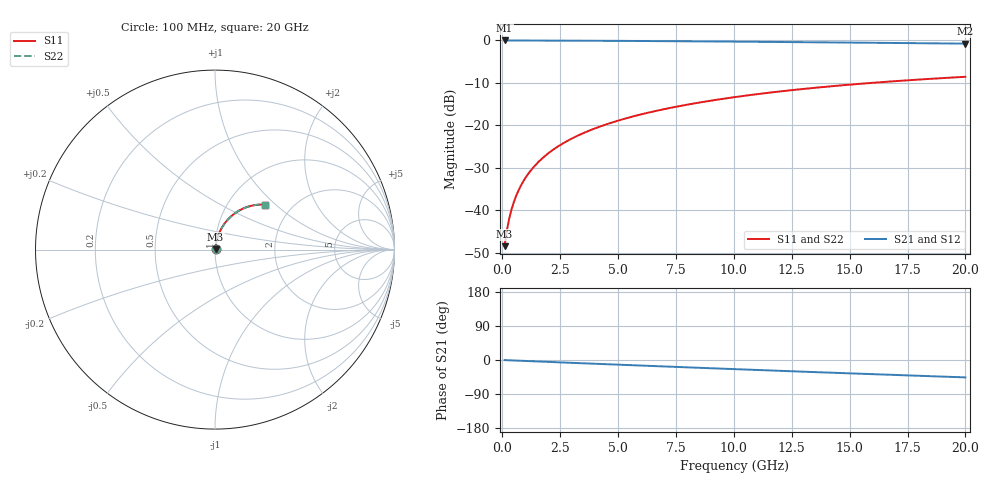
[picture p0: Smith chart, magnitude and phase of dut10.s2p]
! Touchstone file exported from HFSS 2026.1.0
!  File:  C:/ffzhzh/LocalFiles/Ansys_Project_Files/temp_train_BSMRDL_10_1782881856_42304.aedt
!  Generated:  12:58:57 PM Jul  1, 2026
!  Design:  BSMRDL
!  Project:  temp_train_BSMRDL_10_1782881856_42304
! Variables:
!  h_bsmrdl = 5.42um
!  h_ox = 20um
!  h_rdl = 5um
!  h_sub = 80um
!  h_tmrdl = 5um
!  h_tsv = 80um
!  h_via = 3um
!  l_bsmrdl = 720.04um
!  l_sub = 1120.04um
!  l_tmrdl = 200um
!  m_sub = 200um
!  pitch = 39.59um
!  r_tsv = 6um
!  s_tmrdl = 10um
!  w_bsmrdl = 17.76um
!  w_sub = 500um
!  w_tmrdl = 12um
!  x_tsv_center1 = 206um
!  x_tsv_center2 = 943.8um
!  x_tsv_center3 = 1155.8um
!  x_tsv_center4 = 1893.6um
!  x_tsv_center5 = 2105.6um
!  x_tsv_center6 = 2843.4um
# GHz S MA R 50.000000
! Terminal data exported
! Port[1] = BSM_RDL1_1_T1
! Port[2] = BSM_RDL1_1_T2
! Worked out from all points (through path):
!   200 points, 100 MHz to 20 GHz, reference 50 ohm
!   highest |S21| = -0.02 dB at 100 MHz (marker M1); lowest = -0.8 dB at 20 GHz (marker M2)
!   group delay of S21, straight-line fit = 6.36 ps
!   lowest |S11| = -48.4 dB at 100 MHz (marker M3), VSWR 1.01, Z = 50.3 + j0.258 ohm
!   |S11| at or under -10 dB: start of sweep to 15.96 GHz
!   |S22| runs from -48.4 to -8.6 dB; largest |S21 - S12| = 3.1e-14
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0.1  0.003793 42.6  0.9972 -0.3  0.9972 -0.3  0.003793 42.6
! Gamma 0 0 0 0
! Port Impedance 50 0 50 0
0.2  0.005845 59.3  0.9971 -0.5  0.9971 -0.5  0.005845 59.3
0.3  0.00805 66.7  0.9969 -0.8  0.9969 -0.8  0.00805 66.7
0.4  0.01029 70.9  0.9968 -1.0  0.9968 -1.0  0.01029 71.0
0.5  0.01256 73.6  0.9967 -1.3  0.9967 -1.3  0.01256 73.6
0.6  0.01484 75.5  0.9966 -1.5  0.9966 -1.5  0.01484 75.5
0.8  0.01945 77.7  0.9964 -2.0  0.9964 -2.0  0.01945 77.7
1.1  0.0264 79.3  0.996 -2.8  0.996 -2.8  0.0264 79.3
1.5  0.03569 79.9  0.9955 -3.8  0.9955 -3.8  0.03569 79.9
1.8  0.04262 79.9  0.995 -4.5  0.995 -4.5  0.04262 79.9
2.1  0.04952 79.6  0.9944 -5.3  0.9944 -5.3  0.04952 79.6
2.7  0.06318 78.7  0.9931 -6.7  0.9931 -6.7  0.06318 78.7
3.5  0.08108 77.2  0.991 -8.7  0.991 -8.7  0.08108 77.2
4.2  0.09644 75.8  0.9889 -10.4  0.9889 -10.4  0.09644 75.8
5  0.1137 74.0  0.9864 -12.3  0.9864 -12.3  0.1137 74.1
5.9  0.1327 72.1  0.9833 -14.5  0.9833 -14.5  0.1327 72.1
6.8  0.1513 70.1  0.98 -16.6  0.98 -16.6  0.1513 70.2
8.3  0.1814 66.9  0.974 -20.1  0.974 -20.1  0.1814 66.9
10.1  0.2161 63.0  0.966 -24.3  0.966 -24.3  0.2161 63.0
13.4  0.275 55.9  0.9499 -31.7  0.9499 -31.7  0.275 55.9
16.7  0.3273 48.9  0.9326 -38.9  0.9326 -38.9  0.3273 49.0
20  0.3727 42.2  0.9151 -45.9  0.9151 -45.9  0.3727 42.2
